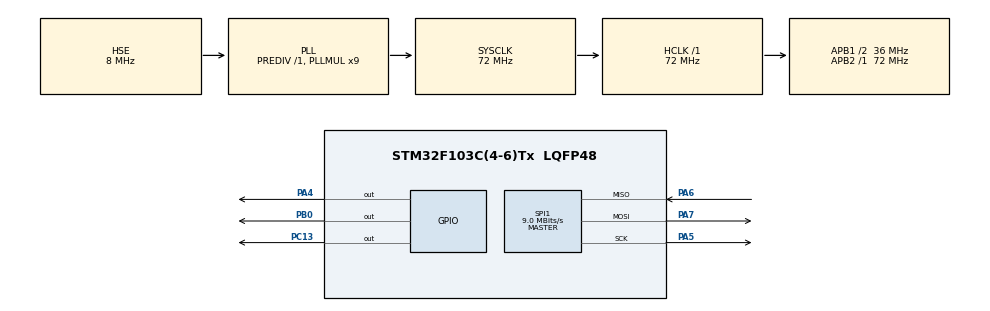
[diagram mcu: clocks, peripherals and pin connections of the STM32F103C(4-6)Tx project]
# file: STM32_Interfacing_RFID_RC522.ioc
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Mcu.Family=STM32F1
Mcu.Name=STM32F103C(4-6)Tx
Mcu.Package=LQFP48
NVIC.PriorityGroup=NVIC_PRIORITYGROUP_4
PA13.Mode=Serial_Wire
PA13.Signal=SYS_JTMS-SWDIO
PA14.Mode=Serial_Wire
PA14.Signal=SYS_JTCK-SWCLK
PA4.Signal=GPIO_Output
PA5.Mode=Full_Duplex_Master
PA5.Signal=SPI1_SCK
PA6.Mode=Full_Duplex_Master
PA6.Signal=SPI1_MISO
PA7.Mode=Full_Duplex_Master
PA7.Signal=SPI1_MOSI
PB0.Signal=GPIO_Output
PC13-TAMPER-RTC.Signal=GPIO_Output
PD0-OSC_IN.Mode=HSE-External-Oscillator
PD0-OSC_IN.Signal=RCC_OSC_IN
PD1-OSC_OUT.Mode=HSE-External-Oscillator
PD1-OSC_OUT.Signal=RCC_OSC_OUT
ProjectManager.HeapSize=0x200
ProjectManager.StackSize=0x400
ProjectManager.TargetToolchain=STM32CubeIDE
RCC.AHBFreq_Value=72000000
RCC.APB1CLKDivider=RCC_HCLK_DIV2
RCC.APB1Freq_Value=36000000
RCC.APB1TimFreq_Value=72000000
RCC.APB2Freq_Value=72000000
RCC.APB2TimFreq_Value=72000000
RCC.HCLKFreq_Value=72000000
RCC.PLLMUL=RCC_PLL_MUL9
RCC.PLLSourceVirtual=RCC_PLLSOURCE_HSE
RCC.SYSCLKFreq_VALUE=72000000
RCC.SYSCLKSource=RCC_SYSCLKSOURCE_PLLCLK
RCC.USBFreq_Value=72000000
SPI1.BaudRatePrescaler=SPI_BAUDRATEPRESCALER_8
SPI1.CalculateBaudRate=9.0 MBits/s
SPI1.Direction=SPI_DIRECTION_2LINES
SPI1.Mode=SPI_MODE_MASTER
SPI1.VirtualType=VM_MASTER
board=custom

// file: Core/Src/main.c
/* USER CODE BEGIN Header */
/**
  ******************************************************************************
  * @file           : main.c
  * @brief          : Main program body
  ******************************************************************************
  * @attention
  *
  * Copyright (c) 2024 STMicroelectronics.
  * All rights reserved.
  *
  * This software is licensed under terms that can be found in the LICENSE file
  * in the root directory of this software component.
  * If no LICENSE file comes with this software, it is provided AS-IS.
  *
  ******************************************************************************
  */
/* USER CODE END Header */
#include "main.h"

/* USER CODE BEGIN Includes */
#include "rc522.h"
#include "string.h"
/* USER CODE END Includes */

SPI_HandleTypeDef hspi1;

/* USER CODE BEGIN PV */
uint8_t status;
uint8_t str[MAX_LEN]; // Max_LEN = 16
uint8_t sNum[5];
/* USER CODE END PV */

void SystemClock_Config(void);
static void MX_GPIO_Init(void);
static void MX_SPI1_Init(void);

int main(void)
{

  /* MCU Configuration--------------------------------------------------------*/

  /* Reset of all peripherals, Initializes the Flash interface and the Systick. */
  HAL_Init();

  /* Configure the system clock */
  SystemClock_Config();

  /* Initialize all configured peripherals */
  MX_GPIO_Init();
  MX_SPI1_Init();
  /* USER CODE BEGIN 2 */
  MFRC522_Init();
  /* USER CODE END 2 */

  /* Infinite loop */
  /* USER CODE BEGIN WHILE */
  while (1)
  {
	  status = MFRC522_Request(PICC_REQIDL, str);
	  status = MFRC522_Anticoll(str);
	  memcpy(sNum, str, 5);
	  HAL_Delay(100);

	  if((sNum[0]==131) && (sNum[1]==49) && (sNum[2]==132) && (sNum[3]==228) && (sNum[4]==210) )
	  {
	    HAL_GPIO_WritePin(GPIOC,GPIO_PIN_13,0);
	    HAL_Delay(2000);
	    memset(sNum, 0, sizeof(sNum));
	    memset(str, 0, sizeof(str));
	  }
	  else if((sNum[0]==147) && (sNum[1]==32) && (sNum[2]==104) && (sNum[3]==163) && (sNum[4]==124) )
	  {
	    HAL_GPIO_WritePin(GPIOC,GPIO_PIN_13,0);
	    HAL_Delay(2000);
	    memset(sNum, 0, sizeof(sNum));
	    memset(str, 0, sizeof(str));
	  }
	  else
	  {
	    HAL_GPIO_WritePin(GPIOC,GPIO_PIN_13,1);
	  }
    /* USER CODE END WHILE */

  }
}

void SystemClock_Config(void)
{
  RCC_OscInitTypeDef RCC_OscInitStruct = {0};
  RCC_ClkInitTypeDef RCC_ClkInitStruct = {0};

  /** Initializes the RCC Oscillators according to the specified parameters
  * in the RCC_OscInitTypeDef structure.
  */
  RCC_OscInitStruct.OscillatorType = RCC_OSCILLATORTYPE_HSE;
  RCC_OscInitStruct.HSEState = RCC_HSE_ON;
  RCC_OscInitStruct.HSEPredivValue = RCC_HSE_PREDIV_DIV1;
  RCC_OscInitStruct.HSIState = RCC_HSI_ON;
  RCC_OscInitStruct.PLL.PLLState = RCC_PLL_ON;
  RCC_OscInitStruct.PLL.PLLSource = RCC_PLLSOURCE_HSE;
  RCC_OscInitStruct.PLL.PLLMUL = RCC_PLL_MUL9;
  if (HAL_RCC_OscConfig(&RCC_OscInitStruct) != HAL_OK)
  {
    Error_Handler();
  }

  /** Initializes the CPU, AHB and APB buses clocks
  */
  RCC_ClkInitStruct.ClockType = RCC_CLOCKTYPE_HCLK|RCC_CLOCKTYPE_SYSCLK
                              |RCC_CLOCKTYPE_PCLK1|RCC_CLOCKTYPE_PCLK2;
  RCC_ClkInitStruct.SYSCLKSource = RCC_SYSCLKSOURCE_PLLCLK;
  RCC_ClkInitStruct.AHBCLKDivider = RCC_SYSCLK_DIV1;
  RCC_ClkInitStruct.APB1CLKDivider = RCC_HCLK_DIV2;
  RCC_ClkInitStruct.APB2CLKDivider = RCC_HCLK_DIV1;

  if (HAL_RCC_ClockConfig(&RCC_ClkInitStruct, FLASH_LATENCY_2) != HAL_OK)
  {
    Error_Handler();
  }
}

static void MX_SPI1_Init(void)
{

  /* SPI1 parameter configuration*/
  hspi1.Instance = SPI1;
  hspi1.Init.Mode = SPI_MODE_MASTER;
  hspi1.Init.Direction = SPI_DIRECTION_2LINES;
  hspi1.Init.DataSize = SPI_DATASIZE_8BIT;
  hspi1.Init.CLKPolarity = SPI_POLARITY_LOW;
  hspi1.Init.CLKPhase = SPI_PHASE_1EDGE;
  hspi1.Init.NSS = SPI_NSS_SOFT;
  hspi1.Init.BaudRatePrescaler = SPI_BAUDRATEPRESCALER_8;
  hspi1.Init.FirstBit = SPI_FIRSTBIT_MSB;
  hspi1.Init.TIMode = SPI_TIMODE_DISABLE;
  hspi1.Init.CRCCalculation = SPI_CRCCALCULATION_DISABLE;
  hspi1.Init.CRCPolynomial = 10;
  if (HAL_SPI_Init(&hspi1) != HAL_OK)
  {
    Error_Handler();
  }

}

static void MX_GPIO_Init(void)
{
  GPIO_InitTypeDef GPIO_InitStruct = {0};

  /* GPIO Ports Clock Enable */
  __HAL_RCC_GPIOC_CLK_ENABLE();
  __HAL_RCC_GPIOD_CLK_ENABLE();
  __HAL_RCC_GPIOA_CLK_ENABLE();
  __HAL_RCC_GPIOB_CLK_ENABLE();

  /*Configure GPIO pin Output Level */
  HAL_GPIO_WritePin(GPIOC, GPIO_PIN_13, GPIO_PIN_RESET);

  /*Configure GPIO pin Output Level */
  HAL_GPIO_WritePin(GPIOA, GPIO_PIN_4, GPIO_PIN_RESET);

  /*Configure GPIO pin Output Level */
  HAL_GPIO_WritePin(GPIOB, GPIO_PIN_0, GPIO_PIN_RESET);

  /*Configure GPIO pin : PC13 */
  GPIO_InitStruct.Pin = GPIO_PIN_13;
  GPIO_InitStruct.Mode = GPIO_MODE_OUTPUT_PP;
  GPIO_InitStruct.Pull = GPIO_NOPULL;
  GPIO_InitStruct.Speed = GPIO_SPEED_FREQ_LOW;
  HAL_GPIO_Init(GPIOC, &GPIO_InitStruct);

  /*Configure GPIO pin : PA4 */
  GPIO_InitStruct.Pin = GPIO_PIN_4;
  GPIO_InitStruct.Mode = GPIO_MODE_OUTPUT_PP;
  GPIO_InitStruct.Pull = GPIO_NOPULL;
  GPIO_InitStruct.Speed = GPIO_SPEED_FREQ_LOW;
  HAL_GPIO_Init(GPIOA, &GPIO_InitStruct);

  /*Configure GPIO pin : PB0 */
  GPIO_InitStruct.Pin = GPIO_PIN_0;
  GPIO_InitStruct.Mode = GPIO_MODE_OUTPUT_PP;
  GPIO_InitStruct.Pull = GPIO_NOPULL;
  GPIO_InitStruct.Speed = GPIO_SPEED_FREQ_LOW;
  HAL_GPIO_Init(GPIOB, &GPIO_InitStruct);

}

void Error_Handler(void)
{
  __disable_irq();
  while (1)
  {
  }
}
